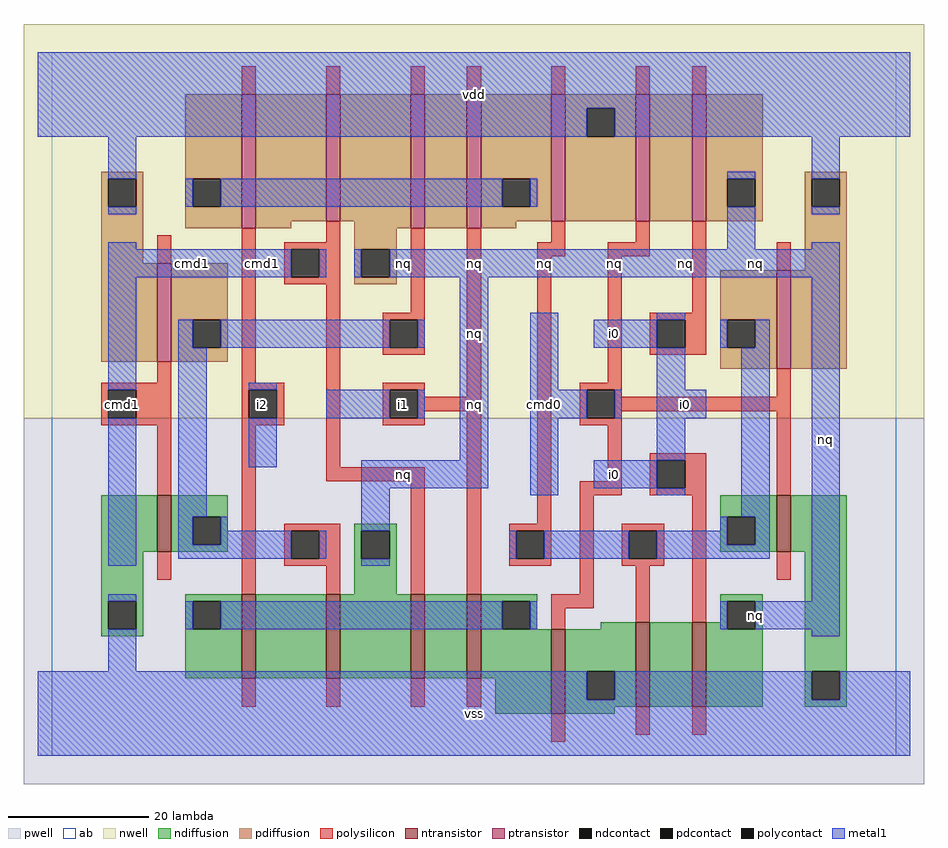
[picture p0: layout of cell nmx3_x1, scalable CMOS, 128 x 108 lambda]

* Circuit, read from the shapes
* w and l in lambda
.subckt nmx3_x1 cmd0 cmd1 i0 i1 i2 nq vdd vss
M1 n1 cmd1 vss VSUBS nfet w=8 l=2
M2 n2 i2 n3 VSUBS nfet w=12 l=2
M3 nq n1 n2 VSUBS nfet w=12 l=2
M4 n4 cmd1 nq VSUBS nfet w=12 l=2
M5 n3 i1 n4 VSUBS nfet w=12 l=2
M6 vss cmd0 n3 VSUBS nfet w=12 l=2
M7 n5 n6 vss VSUBS nfet w=12 l=2
M8 nq i0 n5 VSUBS nfet w=12 l=2
M9 vss cmd0 n6 VSUBS nfet w=8 l=2
M10 n1 cmd1 vdd n7 pfet w=14 l=2
M11 n8 i2 n9 n7 pfet w=19 l=2
M12 nq cmd1 n8 n7 pfet w=18 l=2
M13 n10 n1 nq n7 pfet w=19 l=2
M14 n9 i1 n10 n7 pfet w=19 l=2
M15 vdd n6 n9 n7 pfet w=18 l=2
M16 n11 cmd0 vdd n7 pfet w=18 l=2
M17 nq i0 n11 n7 pfet w=18 l=2
M18 vdd cmd0 n6 n7 pfet w=14 l=2
.ends

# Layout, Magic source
magic
tech scmos
<< ab >>
rect 0 0 120 100
<< pwell >>
rect -4 -4 124 48
<< nwell >>
rect -4 48 124 104
<< polysilicon >>
rect 27 94 29 98
rect 39 94 41 98
rect 51 94 53 98
rect 59 94 61 98
rect 71 94 73 98
rect 83 94 85 98
rect 91 94 93 98
rect 15 70 17 74
rect 15 53 17 56
rect 7 52 17 53
rect 7 48 8 52
rect 12 48 17 52
rect 7 47 17 48
rect 15 37 17 47
rect 27 53 29 75
rect 39 73 41 76
rect 33 72 41 73
rect 33 68 34 72
rect 38 68 41 72
rect 33 67 41 68
rect 27 52 33 53
rect 27 48 28 52
rect 32 48 33 52
rect 27 47 33 48
rect 15 25 17 29
rect 27 23 29 47
rect 39 41 41 67
rect 51 63 53 75
rect 47 62 53 63
rect 47 58 48 62
rect 52 58 53 62
rect 47 57 53 58
rect 47 52 53 53
rect 47 48 48 52
rect 52 51 53 52
rect 59 51 61 75
rect 71 73 73 76
rect 83 73 85 76
rect 52 49 61 51
rect 52 48 53 49
rect 47 47 53 48
rect 39 39 53 41
rect 33 32 41 33
rect 33 28 34 32
rect 38 28 41 32
rect 33 27 41 28
rect 39 23 41 27
rect 51 23 53 39
rect 59 23 61 49
rect 69 71 73 73
rect 79 71 85 73
rect 69 33 71 71
rect 79 53 81 71
rect 91 63 93 76
rect 103 69 105 73
rect 85 62 93 63
rect 85 58 86 62
rect 90 58 93 62
rect 85 57 93 58
rect 75 52 81 53
rect 75 48 76 52
rect 80 51 81 52
rect 103 51 105 55
rect 80 49 105 51
rect 80 48 81 49
rect 75 47 81 48
rect 79 39 81 47
rect 65 32 71 33
rect 65 28 66 32
rect 70 28 71 32
rect 65 27 71 28
rect 75 37 81 39
rect 85 42 93 43
rect 85 38 86 42
rect 90 38 93 42
rect 85 37 93 38
rect 103 37 105 49
rect 75 23 77 37
rect 81 32 87 33
rect 81 28 82 32
rect 86 28 87 32
rect 81 27 87 28
rect 71 21 77 23
rect 71 18 73 21
rect 83 19 85 27
rect 91 19 93 37
rect 103 25 105 29
rect 27 7 29 11
rect 39 7 41 11
rect 51 7 53 11
rect 59 7 61 11
rect 71 2 73 6
rect 83 3 85 7
rect 91 3 93 7
<< ndiffusion >>
rect 7 29 15 37
rect 17 34 25 37
rect 17 30 20 34
rect 24 30 25 34
rect 17 29 25 30
rect 7 22 13 29
rect 43 32 49 33
rect 43 28 44 32
rect 48 28 49 32
rect 43 23 49 28
rect 7 18 8 22
rect 12 18 13 22
rect 7 17 13 18
rect 19 22 27 23
rect 19 18 20 22
rect 24 18 27 22
rect 19 11 27 18
rect 29 11 39 23
rect 41 11 51 23
rect 53 11 59 23
rect 61 22 69 23
rect 61 18 64 22
rect 68 18 69 22
rect 95 34 103 37
rect 95 30 96 34
rect 100 30 103 34
rect 95 29 103 30
rect 105 29 113 37
rect 95 22 101 23
rect 95 19 96 22
rect 78 18 83 19
rect 61 11 71 18
rect 63 6 71 11
rect 73 12 83 18
rect 73 8 76 12
rect 80 8 83 12
rect 73 7 83 8
rect 85 7 91 19
rect 93 18 96 19
rect 100 18 101 22
rect 93 7 101 18
rect 107 12 113 29
rect 107 8 108 12
rect 112 8 113 12
rect 107 7 113 8
rect 73 6 80 7
<< pdiffusion >>
rect 7 82 13 83
rect 7 78 8 82
rect 12 78 13 82
rect 7 70 13 78
rect 19 82 27 94
rect 19 78 20 82
rect 24 78 27 82
rect 19 75 27 78
rect 29 76 39 94
rect 41 76 51 94
rect 29 75 34 76
rect 7 56 15 70
rect 17 62 25 70
rect 17 58 20 62
rect 24 58 25 62
rect 17 56 25 58
rect 43 75 51 76
rect 53 75 59 94
rect 61 82 71 94
rect 61 78 64 82
rect 68 78 71 82
rect 61 76 71 78
rect 73 92 83 94
rect 73 88 76 92
rect 80 88 83 92
rect 73 76 83 88
rect 85 76 91 94
rect 93 82 101 94
rect 93 78 96 82
rect 100 78 101 82
rect 93 76 101 78
rect 107 82 113 83
rect 107 78 108 82
rect 112 78 113 82
rect 61 75 66 76
rect 43 72 49 75
rect 43 68 44 72
rect 48 68 49 72
rect 43 67 49 68
rect 107 69 113 78
rect 95 62 103 69
rect 95 58 96 62
rect 100 58 103 62
rect 95 55 103 58
rect 105 55 113 69
<< metal1 >>
rect -2 92 122 100
rect -2 88 76 92
rect 80 88 122 92
rect 8 82 12 88
rect 96 82 100 83
rect 19 78 20 82
rect 24 78 64 82
rect 68 78 69 82
rect 8 77 12 78
rect 8 72 12 73
rect 96 72 100 78
rect 108 82 112 88
rect 108 77 112 78
rect 108 72 112 73
rect 8 68 34 72
rect 38 68 39 72
rect 43 68 44 72
rect 48 68 112 72
rect 8 52 12 68
rect 8 27 12 48
rect 18 58 20 62
rect 24 58 48 62
rect 52 58 53 62
rect 18 34 22 58
rect 28 52 32 53
rect 39 48 48 52
rect 52 48 53 52
rect 28 41 32 48
rect 58 42 62 68
rect 44 38 62 42
rect 68 52 72 63
rect 86 62 90 63
rect 77 58 86 62
rect 95 58 96 62
rect 100 58 102 62
rect 86 52 90 58
rect 68 48 76 52
rect 80 48 81 52
rect 86 48 93 52
rect 18 30 20 34
rect 24 32 25 34
rect 44 32 48 38
rect 68 37 72 48
rect 86 42 90 48
rect 77 38 86 42
rect 86 37 90 38
rect 98 34 102 58
rect 95 32 96 34
rect 24 30 34 32
rect 18 28 34 30
rect 38 28 39 32
rect 65 28 66 32
rect 70 28 82 32
rect 86 30 96 32
rect 100 30 102 34
rect 86 28 102 30
rect 44 27 48 28
rect 8 22 12 23
rect 108 22 112 68
rect 19 18 20 22
rect 24 18 64 22
rect 68 18 69 22
rect 95 18 96 22
rect 100 18 112 22
rect 8 12 12 18
rect 108 17 112 18
rect -2 8 76 12
rect 80 8 108 12
rect 112 8 122 12
rect -2 0 122 8
<< ntransistor >>
rect 15 29 17 37
rect 27 11 29 23
rect 39 11 41 23
rect 51 11 53 23
rect 59 11 61 23
rect 103 29 105 37
rect 71 6 73 18
rect 83 7 85 19
rect 91 7 93 19
<< ptransistor >>
rect 27 75 29 94
rect 39 76 41 94
rect 15 56 17 70
rect 51 75 53 94
rect 59 75 61 94
rect 71 76 73 94
rect 83 76 85 94
rect 91 76 93 94
rect 103 55 105 69
<< polycontact >>
rect 8 48 12 52
rect 34 68 38 72
rect 28 48 32 52
rect 48 58 52 62
rect 48 48 52 52
rect 34 28 38 32
rect 86 58 90 62
rect 76 48 80 52
rect 66 28 70 32
rect 86 38 90 42
rect 82 28 86 32
<< ndcontact >>
rect 20 30 24 34
rect 44 28 48 32
rect 8 18 12 22
rect 20 18 24 22
rect 64 18 68 22
rect 96 30 100 34
rect 76 8 80 12
rect 96 18 100 22
rect 108 8 112 12
<< pdcontact >>
rect 8 78 12 82
rect 20 78 24 82
rect 20 58 24 62
rect 64 78 68 82
rect 76 88 80 92
rect 96 78 100 82
rect 108 78 112 82
rect 44 68 48 72
rect 96 58 100 62
<< labels >>
rlabel polycontact 10 50 10 50 6 cmd1
rlabel polycontact 30 50 30 50 6 i2
rlabel metal1 20 70 20 70 6 cmd1
rlabel metal1 30 70 30 70 6 cmd1
rlabel metal1 60 6 60 6 6 vss
rlabel metal1 50 40 50 40 6 nq
rlabel polycontact 50 50 50 50 6 i1
rlabel metal1 60 50 60 50 6 nq
rlabel metal1 60 60 60 60 6 nq
rlabel metal1 50 70 50 70 6 nq
rlabel metal1 60 70 60 70 6 nq
rlabel metal1 60 94 60 94 6 vdd
rlabel metal1 80 40 80 40 6 i0
rlabel metal1 70 50 70 50 6 cmd0
rlabel metal1 90 50 90 50 6 i0
rlabel metal1 80 60 80 60 6 i0
rlabel metal1 70 70 70 70 6 nq
rlabel metal1 80 70 80 70 6 nq
rlabel metal1 90 70 90 70 6 nq
rlabel metal1 100 20 100 20 6 nq
rlabel metal1 110 45 110 45 6 nq
rlabel metal1 100 70 100 70 6 nq
<< end >>
